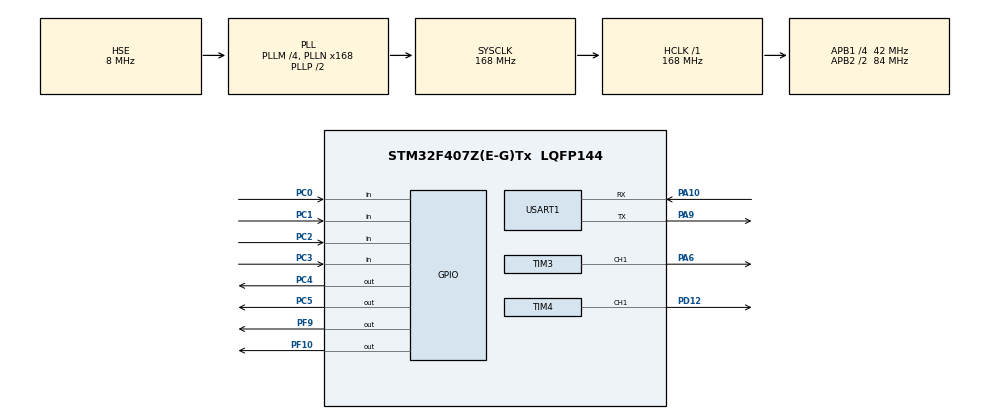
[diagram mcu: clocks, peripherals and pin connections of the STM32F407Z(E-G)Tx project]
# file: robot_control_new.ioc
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Mcu.Family=STM32F4
Mcu.Name=STM32F407Z(E-G)Tx
Mcu.Package=LQFP144
NVIC.PriorityGroup=NVIC_PRIORITYGROUP_2
NVIC.TIM2_IRQn=true\:0\:0\:false\:false\:true\:true\:true\:true
NVIC.TIM5_IRQn=true\:0\:0\:false\:false\:true\:true\:true\:true
NVIC.USART1_IRQn=true\:1\:0\:true\:false\:true\:true\:true\:true
PA10.Mode=Asynchronous
PA10.Signal=USART1_RX
PA13.Mode=Serial_Wire
PA13.Signal=SYS_JTMS-SWDIO
PA14.Mode=Serial_Wire
PA14.Signal=SYS_JTCK-SWCLK
PA6.GPIO_Speed=GPIO_SPEED_FREQ_VERY_HIGH
PA6.Signal=S_TIM3_CH1
PA9.Mode=Asynchronous
PA9.Signal=USART1_TX
PC0.GPIO_PuPd=GPIO_PULLDOWN
PC0.Signal=GPIO_Input
PC1.GPIO_PuPd=GPIO_PULLDOWN
PC1.Signal=GPIO_Input
PC2.GPIO_PuPd=GPIO_PULLDOWN
PC2.Signal=GPIO_Input
PC3.GPIO_PuPd=GPIO_PULLDOWN
PC3.Signal=GPIO_Input
PC4.GPIO_Speed=GPIO_SPEED_FREQ_VERY_HIGH
PC4.Signal=GPIO_Output
PC5.GPIO_Speed=GPIO_SPEED_FREQ_VERY_HIGH
PC5.Signal=GPIO_Output
PD12.GPIO_Speed=GPIO_SPEED_FREQ_VERY_HIGH
PD12.Signal=S_TIM4_CH1
PF10.GPIO_PuPd=GPIO_PULLUP
PF10.GPIO_Speed=GPIO_SPEED_FREQ_VERY_HIGH
PF10.PinState=GPIO_PIN_SET
PF10.Signal=GPIO_Output
PF9.GPIO_PuPd=GPIO_PULLUP
PF9.GPIO_Speed=GPIO_SPEED_FREQ_VERY_HIGH
PF9.PinState=GPIO_PIN_SET
PF9.Signal=GPIO_Output
PH0-OSC_IN.Mode=HSE-External-Oscillator
PH0-OSC_IN.Signal=RCC_OSC_IN
PH1-OSC_OUT.Mode=HSE-External-Oscillator
PH1-OSC_OUT.Signal=RCC_OSC_OUT
ProjectManager.HeapSize=0x200
ProjectManager.StackSize=0x400
ProjectManager.TargetToolchain=MDK-ARM V5.32
RCC.48MHZClocksFreq_Value=84000000
RCC.AHBFreq_Value=168000000
RCC.APB1CLKDivider=RCC_HCLK_DIV4
RCC.APB1Freq_Value=42000000
RCC.APB1TimFreq_Value=84000000
RCC.APB2CLKDivider=RCC_HCLK_DIV2
RCC.APB2Freq_Value=84000000
RCC.APB2TimFreq_Value=168000000
RCC.CortexFreq_Value=168000000
RCC.HCLKFreq_Value=168000000
RCC.HSE_VALUE=8000000
RCC.HSI_VALUE=16000000
RCC.LSE_VALUE=32768
RCC.PLLM=4
RCC.PLLN=168
RCC.PLLSourceVirtual=RCC_PLLSOURCE_HSE
RCC.SYSCLKFreq_VALUE=168000000
RCC.SYSCLKSource=RCC_SYSCLKSOURCE_PLLCLK
RCC.VCOOutputFreq_Value=336000000
SH.S_TIM3_CH1.0=TIM3_CH1,PWM Generation1 CH1
SH.S_TIM4_CH1.0=TIM4_CH1,PWM Generation1 CH1
TIM2.AutoReloadPreload=TIM_AUTORELOAD_PRELOAD_ENABLE
TIM2.Period=9
TIM2.Prescaler=83
TIM3.Channel-PWM\ Generation1\ CH1=TIM_CHANNEL_1
TIM3.OCPolarity_1=TIM_OCPOLARITY_LOW
TIM3.Period=99
TIM3.Prescaler=83
TIM3.Pulse-PWM\ Generation1\ CH1=50
TIM4.Channel-PWM\ Generation1\ CH1=TIM_CHANNEL_1
TIM4.OCPolarity_1=TIM_OCPOLARITY_LOW
TIM4.Period=99
TIM4.Prescaler=8399
TIM4.Pulse-PWM\ Generation1\ CH1=50
TIM5.AutoReloadPreload=TIM_AUTORELOAD_PRELOAD_ENABLE
TIM5.Period=9
TIM5.Prescaler=83
USART1.VirtualMode=VM_ASYNC
VP_TIM2_VS_ClockSourceINT.Mode=Internal
VP_TIM3_VS_ClockSourceINT.Mode=Internal
VP_TIM4_VS_ClockSourceINT.Mode=Internal
VP_TIM5_VS_ClockSourceINT.Mode=Internal
board=custom

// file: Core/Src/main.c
/* USER CODE BEGIN Header */
/**
  ******************************************************************************
  * @file           : main.c
  * @brief          : Main program body
  ******************************************************************************
  * @attention
  *
  * Copyright (c) 2024 STMicroelectronics.
  * All rights reserved.
  *
  * This software is licensed under terms that can be found in the LICENSE file
  * in the root directory of this software component.
  * If no LICENSE file comes with this software, it is provided AS-IS.
  *
  ******************************************************************************
  */
/* USER CODE END Header */
#include "main.h"
#include "tim.h"
#include "usart.h"
#include "gpio.h"
#include <stdio.h>
#include <stdlib.h>
#include <string.h>
#include <math.h>

/* USER CODE BEGIN PV */
//加入以下代码,支持printf函数,而不需要选择use MicroLIB
//#define PUTCHAR_PROTOTYPE int fputc(int ch, FILE *f)

#if 1
#pragma import(__use_no_semihosting)
//标准库需要的支持函数
struct __FILE   //必须定义file，不然GPIO灯不会亮，如果只用到串口不用到GPIO的话就不用定义FILE
{
	int handle;
};

FILE __stdout;
//定义_sys_exit()以避免使用半主机模式
void _sys_exit(int x)
{
	x = x;
}
//重定义fputc函数
int fputc(int ch, FILE *f)
{
	while((USART1->SR&0X40)==0);//循环发送,直到发送完毕
	USART1->DR = (uint8_t) ch;
	return ch;
}
#endif
/* USER CODE END PV */

void SystemClock_Config(void);

/* USER CODE BEGIN 0 */
int axial_speed , axial_time , radial_speed, radial_time;
int flag1, flag2, flag3, flag4;
int counter_2=0,counter_3,counter_4,counter_5=0;
int axialdata_effective=0,radialdata_effective=0;
int input_effect=0;
int axial_timeout = 0,radial_timeout=0;
int tim5_cnt=0,tim2_cnt=0;
int axial_head_exti_flag=0,axial_tail_exti_flag=0,radial_left_exti_flag=0,radial_right_exti_flag=0;
int flag_head_restrict=0,flag_tail_restrict=0,flag_left_restrict=0,flag_right_restrict=0;

// flag1表示前进(0)或后退(1)，flag2表示左转(0)或右转(1).
// flag3表示轴向运动对应时间的定时器计数值乘子，flag4表示径向运动对应时间的定时器计数值乘子。
// 轴向运动时红色LED亮，径向运动时绿色LED亮。
// counter_2，counter_5决定定时器定时次数，timx_cnt作为定时次数标志位
// axialdata_effective是检测输入轴向数据是否有效的标志位，径向同理
// radialdata_effective检测输入径向数据是否有效
// input_effect检测输入数据格式是否正确
// timeout检测是否到达定时时长，若到达，PWM波停止，定时停止
// exti_flag检测外部中断的到来
// flag_restrict检测是否在限位中，若在限位中，不应继续朝对应方向前进

/* USER CODE END 0 */

int main(void)
{

  /* MCU Configuration--------------------------------------------------------*/

  /* Reset of all peripherals, Initializes the Flash interface and the Systick. */
  HAL_Init();

  /* Configure the system clock */
  SystemClock_Config();

  /* Initialize all configured peripherals */
  MX_GPIO_Init();
  MX_TIM2_Init();
  MX_TIM3_Init();
  MX_TIM4_Init();
  MX_TIM5_Init();
  MX_USART1_UART_Init();
  /* USER CODE BEGIN 2 */
  HAL_UART_Receive_IT(&huart1, RxBuffer, RXBUFFERSIZE);
  /* USER CODE END 2 */

  /* Infinite loop */
  while (1)
  {
	if (input_effect == 1)
	{
		printf("轴向速度为%d\n轴向时间%d\n径向速度为%d\n径向时间为%d\nflag1为%d\nflag2为%d\nflag3为%d\nflag4为%d\n",axial_speed , axial_time , radial_speed, radial_time,flag1,flag2,flag3,flag4);
		input_effect = 0;
	}

	if (input_effect== -1)
	{
		printf("输入格式不正确！\n");
		input_effect = 0;
	}
	/*
	if (HAL_GPIO_ReadPin(GPIOC, GPIO_PIN_0) == GPIO_PIN_RESET)
	{
		axial_timeout = 1;
		axial_head_exti_flag = 1;
		printf("已到达轴向运动前限位！\n");
	}

	if (HAL_GPIO_ReadPin(GPIOC, GPIO_PIN_1) == GPIO_PIN_SET)
	{
		axial_timeout = 1;
		axial_tail_exti_flag = 1;
		printf("已到达轴向运动后限位！\n");
	}

	if (HAL_GPIO_ReadPin(GPIOC, GPIO_PIN_2) == GPIO_PIN_SET)
	{
		radial_timeout = 1;
		radial_left_exti_flag = 1;
		printf("c");
	}

	if (HAL_GPIO_ReadPin(GPIOC, GPIO_PIN_3) == GPIO_PIN_SET)
	{
		radial_timeout = 1;
		radial_right_exti_flag = 1;
		printf("d");
	}*/

	if(radial_timeout) //径向运动停止
	{
		HAL_TIM_Base_Stop_IT(&htim2);
		HAL_TIM_PWM_Stop(&htim4,TIM_CHANNEL_1);
		HAL_GPIO_WritePin(GPIOF,GPIO_PIN_10,GPIO_PIN_SET);
		radial_timeout = 0;
		printf("径向运动停止！\n");
	}

	if(axial_timeout) //轴向运动停止
	{
		HAL_TIM_Base_Stop_IT(&htim5);
		HAL_TIM_PWM_Stop(&htim3,TIM_CHANNEL_1);
		HAL_GPIO_WritePin(GPIOF,GPIO_PIN_9,GPIO_PIN_SET);
		axial_timeout = 0;
		printf("轴向运动停止！\n");
	}

	/*if(axial_head_exti_flag||axial_tail_exti_flag)
		printf("已到达轴向运动限位！");
	if(radial_left_exti_flag||radial_right_exti_flag)
		printf("已到达径向运动限位！");
	*/
	/*
	if (axialdata_effective)

		printf("counter_3为%d,counter_5为%d",counter_3,counter_5);

	if (radialdata_effective)

		printf("counter_4为%d,counter_2为%d",counter_4,counter_2);
	*/

	/*flag_head_restrict = flag1 == 0 && axial_head_exti_flag;  //来的数据为轴向正转(1)，现在状态为前进限位(1)，则对前进不做反应
	flag_tail_restrict = flag1 && axial_tail_exti_flag;
	flag_left_restrict = flag2 == 0 && radial_left_exti_flag;
	flag_right_restrict = flag2 && radial_right_exti_flag;*/

	if (axialdata_effective && axial_timeout == 0)
	// 轴向运动的PWM通道无输出，且控制运动时间的定时器也准备就绪，即已经完成了上一次的运动操作
	// 接收到了有效的轴向运动数据
	// 且不在限位+对应运动方向上
	{
		if (flag1)
		  HAL_GPIO_WritePin(GPIOC,GPIO_PIN_4,GPIO_PIN_SET);  //设置PC4高电平，即轴向电机反转
		else
		  HAL_GPIO_WritePin(GPIOC,GPIO_PIN_4,GPIO_PIN_RESET);  //设置PC4低电平，即轴向电机正转

		htim3.Instance->ARR = counter_3-1;
		// __HAL_TIM_SetCounter 要注意，这个宏设置的是当前计数值，不是最大计数值
		htim3.Instance->CCR1 = (counter_3-1)/2;

		HAL_TIM_PWM_Start(&htim3,TIM_CHANNEL_1);
		//htim5.Instance->ARR = counter_5-1;
		HAL_TIM_Base_Start_IT(&htim5);

		axialdata_effective = 0;
		axial_head_exti_flag = 0;
		axial_tail_exti_flag = 0;

		HAL_GPIO_WritePin(GPIOF,GPIO_PIN_9,GPIO_PIN_RESET);
	}

	if ( radialdata_effective && radial_timeout == 0)
	// 径向运动的PWM通道无输出，且控制运动时间的定时器也准备就绪，即已经完成了上一次的运动操作
	// 且接收到了有效的轴向运动数据
	// 且不在限位+对应运动方向上
	{
		if (flag2)
		 HAL_GPIO_WritePin(GPIOC,GPIO_PIN_5,GPIO_PIN_RESET);  //设置PC3低电平，即径向电机反转
		else
		 HAL_GPIO_WritePin(GPIOC,GPIO_PIN_5,GPIO_PIN_SET);  //设置PC3高电平，即径向电机正转

		htim4.Instance->ARR = counter_4-1;
		htim4.Instance->CCR1 = (counter_4-1)/2;

		HAL_TIM_PWM_Start(&htim4 ,TIM_CHANNEL_1);

		//htim2.Instance->ARR = counter_2-1;
		HAL_TIM_Base_Start_IT(&htim2);

		radialdata_effective = 0;
		radial_left_exti_flag = 0;
		radial_right_exti_flag = 0;

		HAL_GPIO_WritePin(GPIOF,GPIO_PIN_10,GPIO_PIN_RESET);
	}
  }
}

void SystemClock_Config(void)
{
  RCC_OscInitTypeDef RCC_OscInitStruct = {0};
  RCC_ClkInitTypeDef RCC_ClkInitStruct = {0};

  /** Configure the main internal regulator output voltage
  */
  __HAL_RCC_PWR_CLK_ENABLE();
  __HAL_PWR_VOLTAGESCALING_CONFIG(PWR_REGULATOR_VOLTAGE_SCALE1);

  /** Initializes the RCC Oscillators according to the specified parameters
  * in the RCC_OscInitTypeDef structure.
  */
  RCC_OscInitStruct.OscillatorType = RCC_OSCILLATORTYPE_HSE;
  RCC_OscInitStruct.HSEState = RCC_HSE_ON;
  RCC_OscInitStruct.PLL.PLLState = RCC_PLL_ON;
  RCC_OscInitStruct.PLL.PLLSource = RCC_PLLSOURCE_HSE;
  RCC_OscInitStruct.PLL.PLLM = 4;
  RCC_OscInitStruct.PLL.PLLN = 168;
  RCC_OscInitStruct.PLL.PLLP = RCC_PLLP_DIV2;
  RCC_OscInitStruct.PLL.PLLQ = 4;
  if (HAL_RCC_OscConfig(&RCC_OscInitStruct) != HAL_OK)
  {
    Error_Handler();
  }

  /** Initializes the CPU, AHB and APB buses clocks
  */
  RCC_ClkInitStruct.ClockType = RCC_CLOCKTYPE_HCLK|RCC_CLOCKTYPE_SYSCLK
                              |RCC_CLOCKTYPE_PCLK1|RCC_CLOCKTYPE_PCLK2;
  RCC_ClkInitStruct.SYSCLKSource = RCC_SYSCLKSOURCE_PLLCLK;
  RCC_ClkInitStruct.AHBCLKDivider = RCC_SYSCLK_DIV1;
  RCC_ClkInitStruct.APB1CLKDivider = RCC_HCLK_DIV4;
  RCC_ClkInitStruct.APB2CLKDivider = RCC_HCLK_DIV2;

  if (HAL_RCC_ClockConfig(&RCC_ClkInitStruct, FLASH_LATENCY_5) != HAL_OK)
  {
    Error_Handler();
  }
}

/* USER CODE BEGIN 4 */
void HAL_UART_RxCpltCallback(UART_HandleTypeDef *huart)
{
	uint8_t head = '9';
	uint8_t verti = '0';
	if (huart == &huart1 && RxBuffer[0] == head)
  {
	 input_effect=1;

	 char axial_speed_string[4];
	 char axial_time_string[5];
	 char radial_speed_string[4];
	 char radial_time_string[5];

	 memcpy(axial_speed_string,(const char*)RxBuffer+1,3);
	 memcpy(axial_time_string,(const char*)RxBuffer+4,4);
	 memcpy(radial_speed_string,(const char*)RxBuffer+8,3);
	 memcpy(radial_time_string,(const char*)RxBuffer+11,4);

	 axial_speed_string[3]= '\0';
	 axial_time_string[4] = '\0';
	 radial_speed_string[3] = '\0';
	 radial_time_string[4] = '\0';

	 axial_speed = atoi(axial_speed_string);
	 axial_time = atoi(axial_time_string);
	 radial_speed = atoi(radial_speed_string);
	 radial_time = atoi(radial_time_string);

	 flag1 = RxBuffer[15]- verti;
	 flag2 = RxBuffer[16]- verti;
	 flag3 = RxBuffer[17]- verti;
	 flag4 = RxBuffer[18]- verti;

	 if (flag3 != 9)
		{
			axialdata_effective = 1;
			counter_3 = 20000 / axial_speed;
			counter_5 = axial_time * pow(10,flag3);
		}

	 if (flag4 != 9)
		{
			radialdata_effective = 1;
			counter_4 = 9000 / radial_speed;
			counter_2 = radial_time * (pow(10,flag4));
		}

	 //while(HAL_UART_Receive_IT(&huart1, RxBuffer, RXBUFFERSIZE) != HAL_OK);
	 //memset(RxBuffer, 0, sizeof(RxBuffer));
	 //__HAL_UART_FLUSH_DRREGISTER(&huart1);
	 HAL_UART_Receive_IT(&huart1, (uint8_t*)RxBuffer, RXBUFFERSIZE);
  }
  else
	  input_effect = -1; //表示传入数据头不是'9'，需要重新传递数据
}

void HAL_TIM_PeriodElapsedCallback(TIM_HandleTypeDef *htim)
{
	if(htim == &htim5)
	{
		tim5_cnt++;

		if(tim5_cnt == counter_5)
		{
			tim5_cnt = 0;
			axial_timeout = 1;
		}
	}
	if(htim == &htim2)
	{
		tim2_cnt++;

		if(tim2_cnt == counter_2)
		{
			tim2_cnt = 0;
			radial_timeout = 1;
		}
	}
}
/* USER CODE END 4 */

void Error_Handler(void)
{
  __disable_irq();
  while (1)
  {
  }
}
